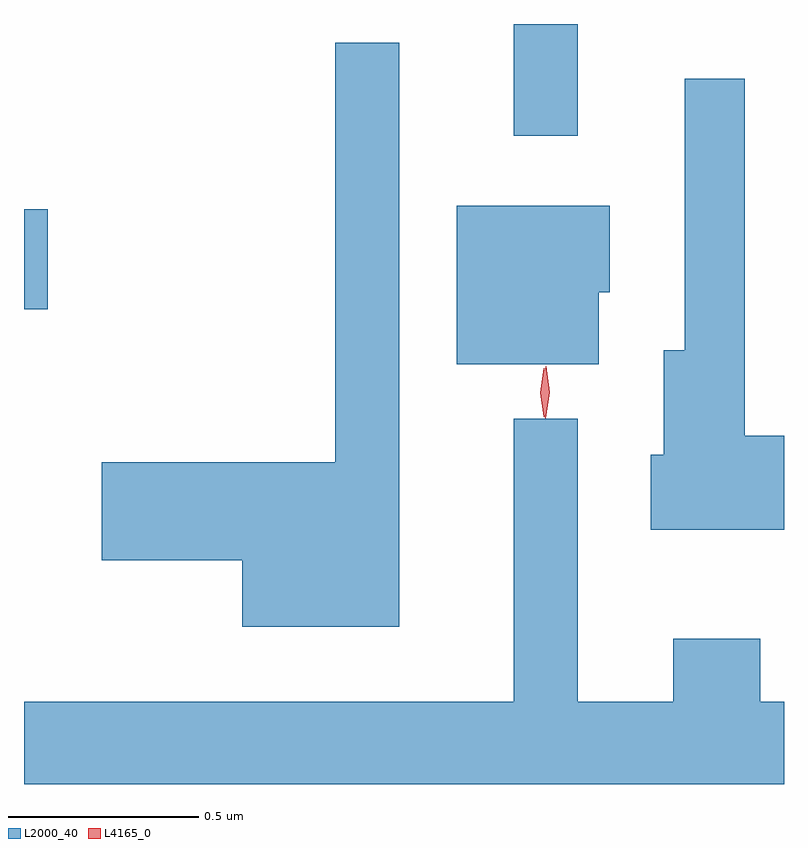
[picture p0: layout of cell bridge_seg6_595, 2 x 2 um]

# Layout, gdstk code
import gdstk
lib = gdstk.Library(unit=1e-6, precision=1e-09)
def R(c, l, rs):  # rectangles x0, y0, x1, y1
    for r in rs: c.add(gdstk.rectangle(r[:2], r[2:], *l))
def P(c, l, *ps):  # polygons
    for p in ps: c.add(gdstk.Polygon(p, *l))
L2000_40 = (2000, 40)
L4165_0 = (4165, 0)

bridge_seg6_595 = lib.new_cell('bridge_seg6_595')
R(bridge_seg6_595, L2000_40, [(491.112,1653.456,491.174,1653.719), (492.401,1653.913,492.569,1654.207)])
P(bridge_seg6_595, L2000_40, [(492.099,1654.158),(491.931,1654.158),(491.931,1653.054),(491.316,1653.054),(491.316,1652.796),(491.686,1652.796),(491.686,1652.621),(492.099,1652.621)],
  [(493.112,1653.124),(493.009,1653.124),(493.009,1654.063),(492.851,1654.063),(492.851,1653.349),(492.796,1653.349),(492.796,1653.074),(492.761,1653.074),(492.761,1652.876),(493.112,1652.876)],
  [(492.624,1653.501),(492.654,1653.501),(492.654,1653.729),(492.251,1653.729),(492.251,1653.311),(492.624,1653.311)],
  [(493.112,1652.424),(493.049,1652.424),(493.049,1652.589),(492.821,1652.589),(492.821,1652.424),(492.569,1652.424),(492.569,1653.168),(492.401,1653.168),(492.401,1652.424),(491.112,1652.424),(491.112,1652.207),(493.112,1652.207)])
P(bridge_seg6_595, L4165_0, [(492.481,1653.172),(492.48,1653.173),(492.471,1653.237),(492.48,1653.301),(492.481,1653.301),(492.481,1653.301),(492.491,1653.237),(492.481,1653.173)],
  [(492.485,1653.169),(492.484,1653.17),(492.475,1653.238),(492.485,1653.306),(492.486,1653.306),(492.486,1653.306),(492.495,1653.238),(492.485,1653.17)])

lib.write_gds('bridge_seg6_595.gds')
